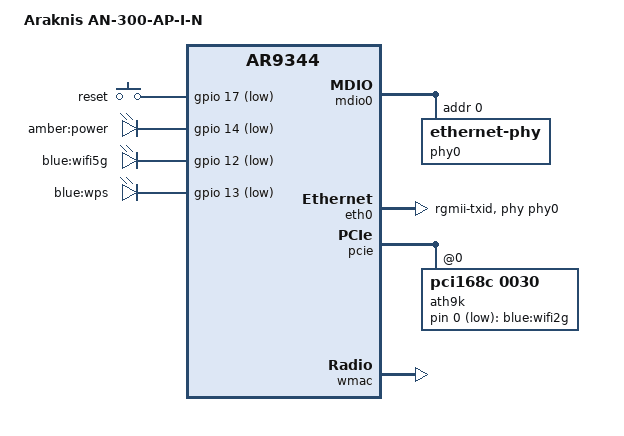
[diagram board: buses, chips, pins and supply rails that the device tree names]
// SPDX-License-Identifier: GPL-2.0-or-later OR MIT

#include "ar9344.dtsi"
#include "ar934x_senao_loader.dtsi"

#include <dt-bindings/gpio/gpio.h>
#include <dt-bindings/input/input.h>

/ {
	compatible = "araknis,an-300-ap-i-n", "qca,ar9344";
	model = "Araknis AN-300-AP-I-N";

	aliases {
		label-mac-device = &eth0;
		led-boot = &led_power;
		led-failsafe = &led_power;
		led-upgrade = &led_power;
	};

	keys {
		compatible = "gpio-keys";

		reset {
			linux,code = <KEY_RESTART>;
			gpios = <&gpio 17 GPIO_ACTIVE_LOW>;
			debounce-interval = <60>;
		};
	};

	leds {
		compatible = "gpio-leds";

		led_power: power {
			label = "amber:power";
			gpios = <&gpio 14 GPIO_ACTIVE_LOW>;
			default-state = "off";
		};

		wifi5g {
			label = "blue:wifi5g";
			gpios = <&gpio 12 GPIO_ACTIVE_LOW>;
			linux,default-trigger = "phy0tpt";
		};

		wps {
			label = "blue:wps";
			gpios = <&gpio 13 GPIO_ACTIVE_LOW>;
		};
	};

	ath9k-leds {
		compatible = "gpio-leds";

		wifi2g {
			label = "blue:wifi2g";
			gpios = <&ath9k 0 GPIO_ACTIVE_LOW>;
			linux,default-trigger = "phy1tpt";
		};
	};
};

&mdio0 {
	status = "okay";

	phy0: ethernet-phy@0 {
		reg = <0>;
		eee-broken-100tx;
		eee-broken-1000t;
	};
};

&eth0 {
	status = "okay";

	nvmem-cells = <&macaddr_art_0>;
	nvmem-cell-names = "mac-address";

	phy-handle = <&phy0>;
	phy-mode = "rgmii-txid";

	pll-data = <0x02000000 0x00000101 0x00001313>;
};

&pcie {
	status = "okay";

	ath9k: wifi@0,0,0 {
		compatible = "pci168c,0030";
		reg = <0x0 0 0 0 0>;
		nvmem-cells = <&macaddr_art_0>;
		nvmem-cell-names = "mac-address";
		mac-address-increment = <1>;
		qca,disable-5ghz;
		qca,no-eeprom;
		#gpio-cells = <2>;
		gpio-controller;
	};
};

&wmac {
	status = "okay";

	qca,disable-2ghz;

	mtd-cal-data = <&art 0x1000>;

	nvmem-cells = <&macaddr_art_0>;
	nvmem-cell-names = "mac-address";
	mac-address-increment = <2>;
};

&art {
	compatible = "nvmem-cells";
	#address-cells = <1>;
	#size-cells = <1>;

	macaddr_art_0: macaddr@0 {
		reg = <0x0 0x6>;
	};
};
